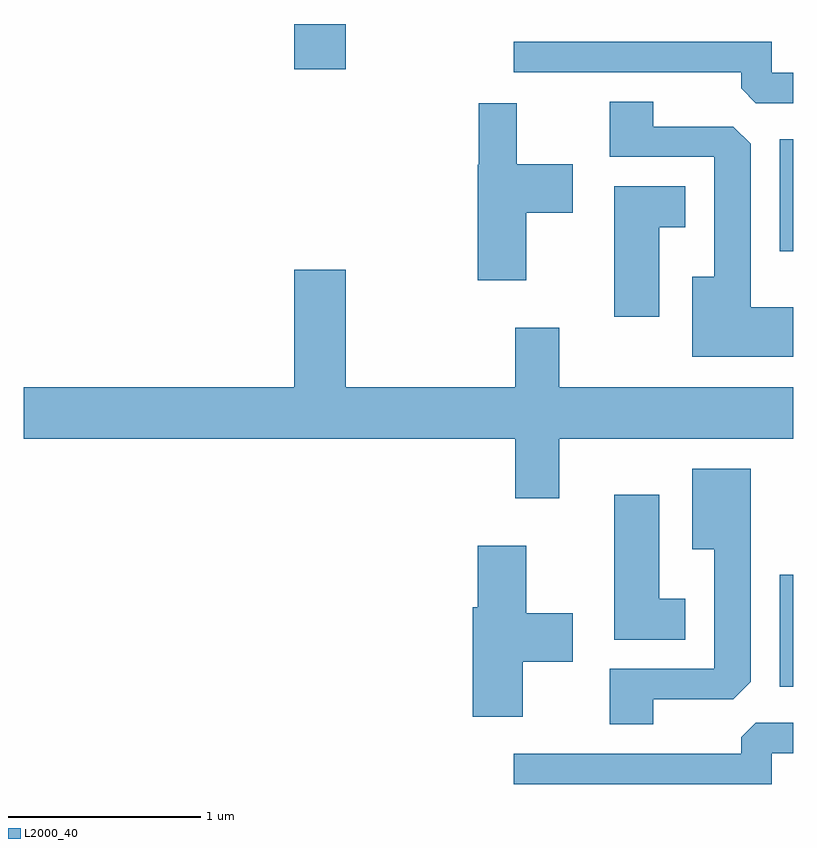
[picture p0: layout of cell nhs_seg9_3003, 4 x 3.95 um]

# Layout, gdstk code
import gdstk
lib = gdstk.Library(unit=1e-6, precision=1e-09)
def R(c, l, rs):  # rectangles x0, y0, x1, y1
    for r in rs: c.add(gdstk.rectangle(r[:2], r[2:], *l))
def P(c, l, *ps):  # polygons
    for p in ps: c.add(gdstk.Polygon(p, *l))
L2000_40 = (2000, 40)

nhs_seg9_3003 = lib.new_cell('nhs_seg9_3003')
R(nhs_seg9_3003, L2000_40, [(277.541,1974.986,277.611,1975.569), (277.541,1977.251,277.611,1977.834), (275.016,1978.196,275.284,1978.432)])
P(nhs_seg9_3003, L2000_40, [(277.611,1978.179),(277.499,1978.179),(277.499,1978.339),(276.158,1978.339),(276.158,1978.181),(277.341,1978.181),(277.341,1978.097),(277.417,1978.021),(277.611,1978.021)],
  [(277.611,1976.959),(277.389,1976.959),(277.389,1977.809),(277.299,1977.899),(276.884,1977.899),(276.884,1978.029),(276.656,1978.029),(276.656,1977.741),(277.201,1977.741),(277.201,1977.119),(277.086,1977.119),(277.086,1976.701),(277.611,1976.701)],
  [(276.224,1977.451),(276.464,1977.451),(276.464,1977.704),(276.174,1977.704),(276.174,1978.019),(275.976,1978.019),(275.976,1977.7),(275.971,1977.7),(275.971,1977.101),(276.224,1977.101)],
  [(276.914,1977.376),(277.049,1977.376),(277.049,1977.589),(276.681,1977.589),(276.681,1976.911),(276.914,1976.911)],
  [(276.394,1976.276),(277.611,1976.276),(277.611,1976.544),(276.394,1976.544),(276.394,1976.854),(276.166,1976.854),(276.166,1976.544),(275.284,1976.544),(275.284,1977.154),(275.016,1977.154),(275.016,1976.544),(273.611,1976.544),(273.611,1976.276),(276.166,1976.276),(276.166,1975.966),(276.394,1975.966)],
  [(276.884,1974.921),(277.299,1974.921),(277.389,1975.012),(277.389,1976.119),(277.086,1976.119),(277.086,1975.701),(277.201,1975.701),(277.201,1975.079),(276.656,1975.079),(276.656,1974.791),(276.884,1974.791)],
  [(277.049,1975.444),(276.914,1975.444),(276.914,1975.984),(276.681,1975.984),(276.681,1975.231),(277.049,1975.231)],
  [(276.204,1975.116),(276.464,1975.116),(276.464,1975.369),(276.224,1975.369),(276.224,1975.719),(275.971,1975.719),(275.971,1975.399),(275.946,1975.399),(275.946,1974.831),(276.204,1974.831)],
  [(277.499,1974.641),(277.611,1974.641),(277.611,1974.799),(277.417,1974.799),(277.341,1974.724),(277.341,1974.639),(276.158,1974.639),(276.158,1974.481),(277.499,1974.481)])

lib.write_gds('nhs_seg9_3003.gds')
